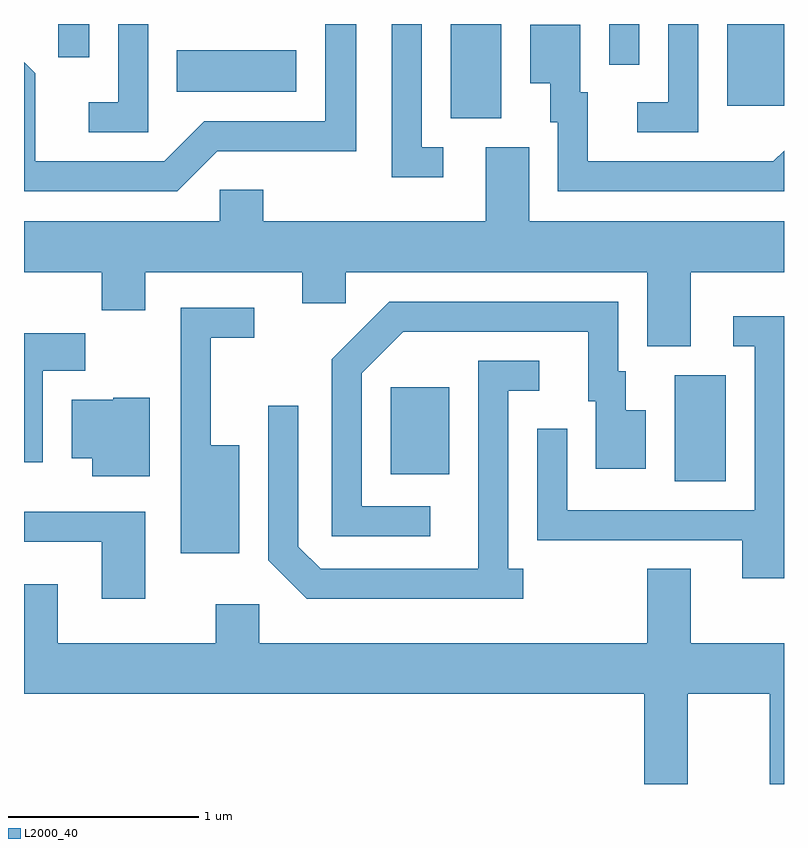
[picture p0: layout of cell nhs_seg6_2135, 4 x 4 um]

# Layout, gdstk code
import gdstk
lib = gdstk.Library(unit=1e-6, precision=1e-09)
def R(c, l, rs):  # rectangles x0, y0, x1, y1
    for r in rs: c.add(gdstk.rectangle(r[:2], r[2:], *l))
def P(c, l, *ps):  # polygons
    for p in ps: c.add(gdstk.Polygon(p, *l))
L2000_40 = (2000, 40)

nhs_seg6_2135 = lib.new_cell('nhs_seg6_2135')
R(nhs_seg6_2135, L2000_40, [(253.036,1617.756,253.304,1618.314), (251.541,1617.791,251.849,1618.249), (251.856,1619.666,252.124,1620.162), (253.311,1619.731,253.611,1620.162), (250.416,1619.806,251.044,1620.024), (252.691,1619.948,252.849,1620.162), (249.791,1619.988,249.954,1620.162)])
P(nhs_seg6_2135, L2000_40, [(250.264,1620.162),(250.106,1620.162),(250.106,1619.749),(249.953,1619.749),(249.953,1619.591),(250.264,1619.591)],
  [(250.627,1619.491),(251.359,1619.491),(251.359,1620.162),(251.196,1620.162),(251.196,1619.649),(250.559,1619.649),(250.349,1619.439),(249.669,1619.439),(249.669,1619.902),(249.611,1619.96),(249.611,1619.281),(250.417,1619.281)],
  [(253.159,1620.162),(253.001,1620.162),(253.001,1619.749),(252.838,1619.749),(252.838,1619.591),(253.159,1619.591)],
  [(251.818,1619.514),(251.704,1619.514),(251.704,1620.162),(251.546,1620.162),(251.546,1619.356),(251.818,1619.356)],
  [(253.611,1619.496),(253.554,1619.439),(252.579,1619.439),(252.579,1619.804),(252.539,1619.804),(252.539,1620.159),(252.276,1620.159),(252.276,1619.851),(252.381,1619.851),(252.381,1619.646),(252.421,1619.646),(252.421,1619.281),(253.611,1619.281)],
  [(253.119,1618.856),(253.611,1618.856),(253.611,1619.124),(252.269,1619.124),(252.269,1619.514),(252.041,1619.514),(252.041,1619.124),(250.869,1619.124),(250.869,1619.289),(250.641,1619.289),(250.641,1619.124),(249.611,1619.124),(249.611,1618.856),(250.021,1618.856),(250.021,1618.656),(250.249,1618.656),(250.249,1618.856),(251.076,1618.856),(251.076,1618.691),(251.304,1618.691),(251.304,1618.856),(252.891,1618.856),(252.891,1618.466),(253.119,1618.466)],
  [(251.748,1617.624),(251.389,1617.624),(251.389,1618.324),(251.607,1618.541),(252.581,1618.541),(252.581,1618.176),(252.621,1618.176),(252.621,1617.821),(252.884,1617.821),(252.884,1618.129),(252.779,1618.129),(252.779,1618.334),(252.739,1618.334),(252.739,1618.699),(251.534,1618.699),(251.231,1618.397),(251.231,1617.466),(251.748,1617.466)],
  [(250.744,1617.944),(250.594,1617.944),(250.594,1618.511),(250.823,1618.511),(250.823,1618.669),(250.436,1618.669),(250.436,1617.376),(250.744,1617.376)],
  [(253.611,1618.624),(253.343,1618.624),(253.343,1618.466),(253.456,1618.466),(253.456,1617.604),(252.469,1617.604),(252.469,1618.033),(252.311,1618.033),(252.311,1617.446),(253.391,1617.446),(253.391,1617.246),(253.611,1617.246)],
  [(249.709,1618.336),(249.934,1618.336),(249.934,1618.534),(249.611,1618.534),(249.611,1617.856),(249.709,1617.856)],
  [(252.238,1617.294),(252.159,1617.294),(252.159,1618.231),(252.323,1618.231),(252.323,1618.389),(252.001,1618.389),(252.001,1617.294),(251.172,1617.294),(251.054,1617.412),(251.054,1618.153),(250.896,1618.153),(250.896,1617.339),(251.099,1617.136),(252.238,1617.136)],
  [(250.274,1618.194),(250.08,1618.194),(250.08,1618.184),(249.861,1618.184),(249.861,1617.876),(249.971,1617.876),(249.971,1617.781),(250.274,1617.781)],
  [(250.249,1617.594),(249.611,1617.594),(249.611,1617.436),(250.021,1617.436),(250.021,1617.136),(250.249,1617.136)],
  [(253.104,1616.636),(253.536,1616.636),(253.536,1616.162),(253.611,1616.162),(253.611,1616.904),(253.119,1616.904),(253.119,1617.294),(252.891,1617.294),(252.891,1616.904),(250.849,1616.904),(250.849,1617.109),(250.621,1617.109),(250.621,1616.904),(249.789,1616.904),(249.789,1617.214),(249.611,1617.214),(249.611,1616.636),(252.876,1616.636),(252.876,1616.162),(253.104,1616.162)])

lib.write_gds('nhs_seg6_2135.gds')
